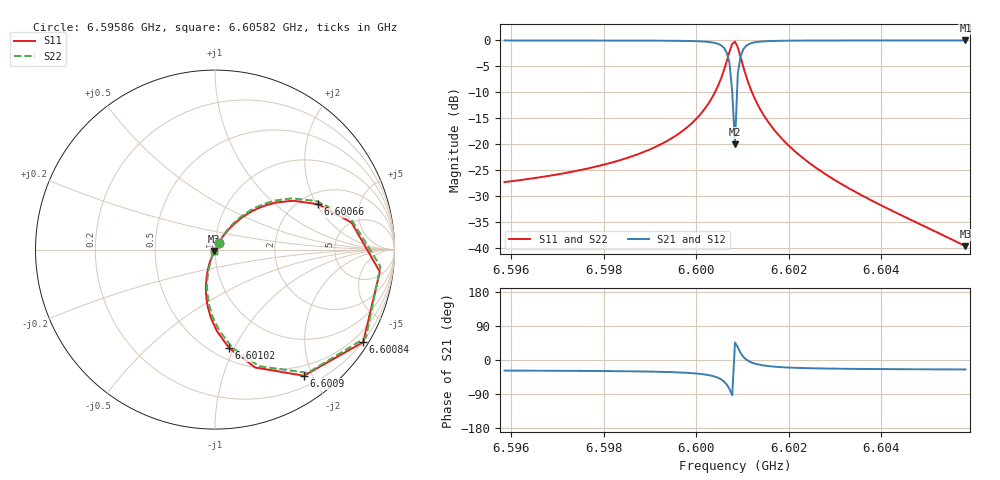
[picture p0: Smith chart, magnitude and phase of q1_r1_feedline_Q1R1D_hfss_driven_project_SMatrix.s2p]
! Touchstone file exported from HFSS 2024.1.0
! qcc fixture: rows cut to f0 +- 5 MHz from the 20001-point fast sweep 6.0-7.2 GHz
!  File:  <repo>/build/jobs/aedt241/driven_wide/q1_r1_feedline_Q1R1D_hfss_driven_project.aedt
!  Generated:  02:18:15 PM Nov  3, 2026
!  Design:  HfssDesign
!  Project:  q1_r1_feedline_Q1R1D_hfss_driven_project
!  Setup:  Setup1
!  Solution:  Sweep
! Variables:
!  Cj_1 = 2e-15farad
!  Lj_1 = 1.2e-08H
# GHz S MA R 50.000000
! Terminal data exported
! Port[1] = Port2_T1
! Port[2] = Port3_T1
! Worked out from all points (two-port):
!   167 points, 6.59586 GHz to 6.60582 GHz, reference 50 ohm
!   highest |S21| = 0.00 dB at 6.60582 GHz (marker M1); lowest = -20.0 dB at 6.60084 GHz (marker M2)
!   |S21| within 3 dB of the highest: start of sweep to 6.600681 GHz; 6.600962 GHz to end of sweep
!   lowest |S11| = -39.6 dB at 6.60582 GHz (marker M3), VSWR 1.02, Z = 49.5 - j0.925 ohm
!   |S11| at or under -10 dB: start of sweep to 6.600405 GHz; 6.601208 GHz to end of sweep
!   |S22| runs from -39.6 to -0.2 dB; largest |S21 - S12| = 1.5e-12
!   S11 on the Smith chart (normalised r, x): 6.59586 GHz: 1.04, +0.08; 6.60066 GHz: 2.48, +2.07; 6.60084 GHz: 0.18, -3.48; 6.6009 GHz: 0.35, -1.88; 6.60102 GHz: 0.60, -0.96; 6.60582 GHz: 0.99, -0.02
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6.59586  0.04321 61.3  0.999 -27.9  0.999 -27.9  0.04321 62.7
6.59754  0.05693 60.5  0.9983 -28.7  0.9983 -28.7  0.05693 62.0
6.5985  0.07361 59.5  0.9972 -29.7  0.9972 -29.7  0.07361 61.0
6.59922  0.09907 57.9  0.9949 -31.2  0.9949 -31.2  0.09907 59.6
6.59988  0.1556 54.6  0.9874 -34.4  0.9874 -34.4  0.1556 56.2
6.6003  0.2606 48.2  0.9641 -40.6  0.9641 -40.6  0.2606 50.0
6.60042  0.3256 44.2  0.9432 -44.5  0.9432 -44.5  0.3256 46.0
6.60054  0.4332 37.4  0.897 -51.2  0.897 -51.2  0.4332 39.2
6.60066  0.6282 23.7  0.7671 -64.4  0.7671 -64.4  0.6282 25.5
6.60072  0.7754 11.2  0.6104 -76.3  0.6104 -76.3  0.7754 13.0
6.60078  0.9265 -7.7  0.3217 -93.1  0.3217 -93.1  0.9265 -5.9
6.60084  0.9733 -32.0  0.1 46.3  0.1 46.3  0.9733 -30.2
6.6009  0.8598 -54.8  0.4765 33.7  0.4765 33.7  0.8598 -53.0
6.60096  0.6942 -71.1  0.7041 18.5  0.7041 18.5  0.6942 -69.3
6.60102  0.5555 -81.8  0.8228 8.3  0.8228 8.3  0.5555 -79.9
6.60108  0.4531 -88.8  0.8859 1.5  0.8859 1.5  0.4531 -86.9
6.6012  0.3226 -97.1  0.9438 -6.7  0.9438 -6.7  0.3226 -95.3
6.60144  0.1975 -104.7  0.9793 -14.1  0.9793 -14.1  0.1975 -102.8
6.60192  0.1053 -110.2  0.9941 -19.4  0.9941 -19.4  0.1053 -108.3
6.60252  0.0625 -112.8  0.9979 -21.9  0.9979 -21.9  0.0625 -110.7
6.6042  0.02329 -115.3  0.9997 -24.2  0.9997 -24.2  0.02329 -112.8
6.60582  0.01044 -116.5  0.9999 -24.9  0.9999 -24.9  0.01044 -113.1
